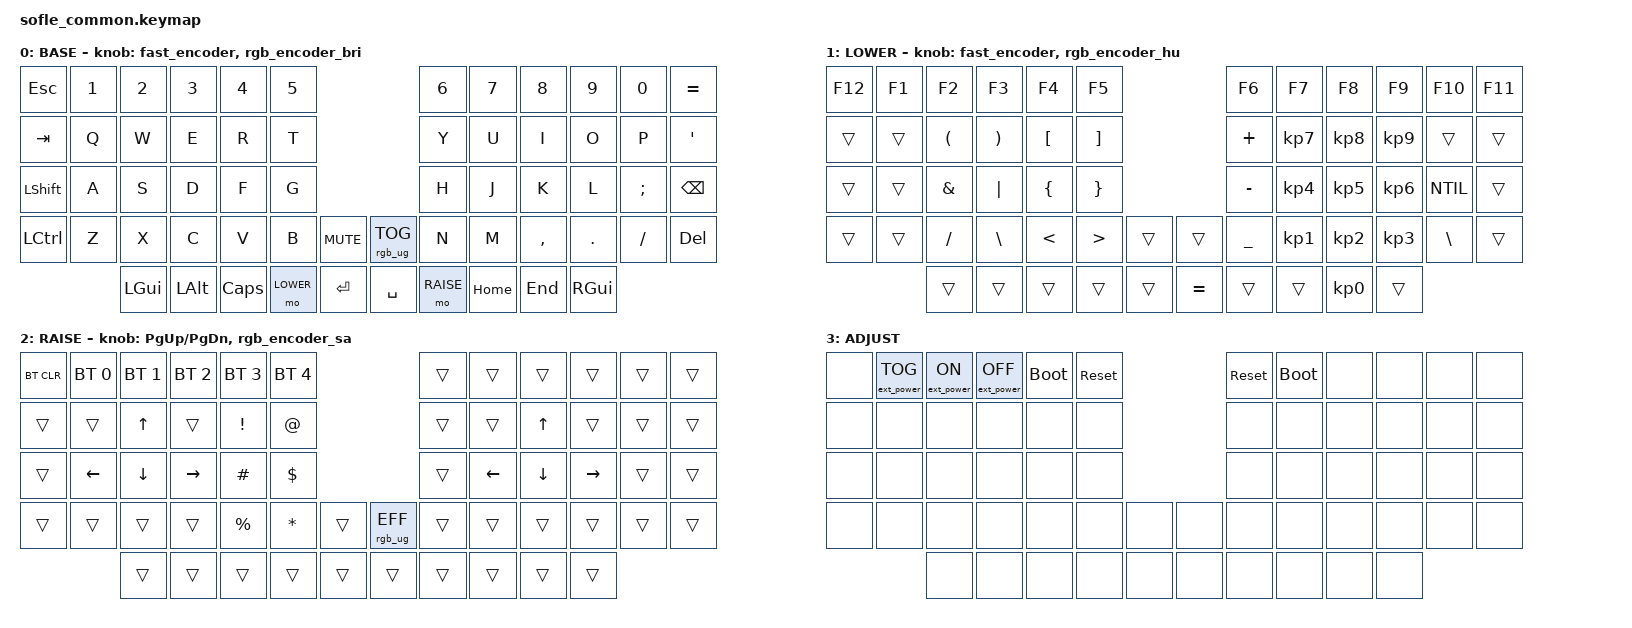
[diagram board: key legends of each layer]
#include <behaviors.dtsi>
#include <dt-bindings/zmk/keys.h>
#include <dt-bindings/zmk/bt.h>
#include <dt-bindings/zmk/rgb.h>
#include <dt-bindings/zmk/ext_power.h>

#define BASE 0
#define LOWER 1
#define RAISE 2
#define ADJUST 3

&nice_view_spi {
    cs-gpios = <&pro_micro 0 GPIO_ACTIVE_HIGH>;  // use D0 (008) for CS niceview 
};

/ {
    behaviors {
        fast_encoder: fast_encoder {
            compatible = "zmk,behavior-sensor-rotate";
            #sensor-binding-cells = <0>;
            bindings = <&macro_fast_vol_dn>, <&macro_fast_vol_up>;
        };        

        rgb_encoder_bri: rgb_encoder_bri {
            compatible = "zmk,behavior-sensor-rotate";
            #sensor-binding-cells = <0>;
            bindings = <&rgb_ug RGB_BRD>, <&rgb_ug RGB_BRI>;
        };

        rgb_encoder_hu: rgb_encoder_hu {
            compatible = "zmk,behavior-sensor-rotate";
            #sensor-binding-cells = <0>;
            bindings = <&rgb_ug RGB_HUD>, <&rgb_ug RGB_HUI>;
        };

        rgb_encoder_sa: rgb_encoder_sa {
            compatible = "zmk,behavior-sensor-rotate";
            #sensor-binding-cells = <0>;
            bindings = <&rgb_ug RGB_SAD>, <&rgb_ug RGB_SAI>;
        };
    };


    macros {      
              
            macro_fast_vol_up: macro_fast_vol_up {
                compatible = "zmk,behavior-macro";
                #binding-cells = <0>;
                wait-ms = <0>;
                tap-ms = <0>;
                bindings = <&kp C_VOL_UP &kp C_VOL_UP>;
            };

            macro_fast_vol_dn: macro_fast_vol_dn {
                compatible = "zmk,behavior-macro";
                #binding-cells = <0>;
                wait-ms = <0>;
                tap-ms = <0>;
                bindings = <&kp C_VOL_DN &kp C_VOL_DN>;
            };

            NTIL: NTIL {
                compatible = "zmk,behavior-macro";
                #binding-cells = <0>;
                bindings
                    = <&macro_press &kp LALT>
                    , <&macro_tap &kp KP_N1 &kp KP_N6 &kp KP_N4>
                    , <&macro_release &kp LALT>
                    ;
            };
    };
    


   //Activate ADJUST layer by pressing raise and lower
    conditional_layers {
        compatible = "zmk,conditional-layers";
        adjust_layer {
            if-layers = <LOWER RAISE>;
            then-layer = <ADJUST>;
        };
    };

    keymap {
        compatible = "zmk,keymap";

        default_layer {
            display-name = "BASE";
// ╭─────────────┬─────────────┬─────────────┬─────────────┬─────────────┬─────────────╮                               ╭─────────────┬─────────────┬─────────────┬─────────────┬─────────────┬─────────────╮
// |     ESC     |      1      |      2      |      3      |      4      |      5      |                               |      6      |      7      |      8      |      9      |      0      |     EQUAL   |
// ├─────────────┼─────────────┼─────────────┼─────────────┼─────────────┼─────────────┤                               ├─────────────┼─────────────┼─────────────┼─────────────┼─────────────┼─────────────┤
// |     TAB     |      Q      |      W      |      E      |      R      |      T      |                               |      Y      |      U      |      I      |      O      |      P      |      '      |
// ├─────────────┼─────────────┼─────────────┼─────────────┼─────────────┼─────────────┤                               ├─────────────┼─────────────┼─────────────┼─────────────┼─────────────┼─────────────┤
// |     SHIFT   |      A      |      S      |      D      |      F      |      G      |                               |      H      |      J      |      K      |      L      |      ;      |     BSPC    |
// ├─────────────┼─────────────┼─────────────┼─────────────┼─────────────┼─────────────┬─────────────╮    ╭────────────┼─────────────┼─────────────┼─────────────┼─────────────┼─────────────┼─────────────┤
// |     CTRL    |      Z      |      X      |      C      |      V      |      B      |     MUTE    |    |     RGB    |      N      |      M      |      ,      |      .      |      /      |     DEL     |
// ╰─────────────┴─────────────┴─────────────┼─────────────┼─────────────┼─────────────├─────────────┤    ├────────────┼─────────────┼─────────────┼─────────────┼─────────────┼─────────────┴─────────────╯
//                             |     GUI     |     ALT     |     CAPS    |     LOWER   |    ENTER    |    |   SPACE    |    RAISE    |    HOME     |     END     |     GUI     |
//                             ╰─────────────┴─────────────┴─────────────┴─────────────┴─────────────╯    ╰────────────┴─────────────┴─────────────┴─────────────┴─────────────╯
                        bindings = <
            &kp ESC   &kp N1 &kp N2   &kp N3   &kp N4    &kp N5                                  &kp N6     &kp N7    &kp N8    &kp N9   &kp N0   &kp EQUAL
            &kp TAB   &kp Q  &kp W    &kp E    &kp R     &kp T                                   &kp Y      &kp U     &kp I     &kp O    &kp P    &kp SQT
            &kp LSHFT &kp A  &kp S    &kp D    &kp F     &kp G                                   &kp H      &kp J     &kp K     &kp L    &kp SEMI &kp BSPC
            &kp LCTRL &kp Z  &kp X    &kp C    &kp V     &kp B      &kp C_MUTE &rgb_ug RGB_TOG   &kp N      &kp M     &kp COMMA &kp DOT  &kp FSLH &kp DEL
                            &kp LGUI &kp LALT &kp CAPS  &mo LOWER  &kp RET    &kp SPACE         &mo RAISE  &kp HOME  &kp END   &kp RGUI
                        >;

                        sensor-bindings = <&fast_encoder &rgb_encoder_bri>;
                    };

        lower_layer {
            display-name = "LOWER";

// ╭─────────────┬─────────────┬─────────────┬─────────────┬─────────────┬─────────────╮                               ╭─────────────┬─────────────┬─────────────┬─────────────┬─────────────┬─────────────╮
// |     F12     |      F1     |      F2     |     F3      |      F4     |      F5     |                               |      F6     |      F7     |      F8     |      F9     |      F10    |     F11     |
// ├─────────────┼─────────────┼─────────────┼─────────────┼─────────────┼─────────────┤                               ├─────────────┼─────────────┼─────────────┼─────────────┼─────────────┼─────────────┤
// |             |             |      (      |      )      |      [      |      ]      |                               |      +      |      7      |      8      |      9      |             |             |
// ├─────────────┼─────────────┼─────────────┼─────────────┼─────────────┼─────────────┤                               ├─────────────┼─────────────┼─────────────┼─────────────┼─────────────┼─────────────┤
// |             |             |      &      |      |      |      {      |      }      |                               |      -      |      4      |      5      |      6      |      ñ      |             |
// ├─────────────┼─────────────┼─────────────┼─────────────┼─────────────┼─────────────┬─────────────╮    ╭────────────┼─────────────┼─────────────┼─────────────┼─────────────┼─────────────┼─────────────┤
// |             |             |      /      |      \      |      <      |      >      |             |    |            |      _      |      1      |      2      |      3      |      \      |             |
// ╰─────────────┴─────────────┴─────────────┼─────────────┼─────────────┼─────────────├─────────────┤    ├────────────┼─────────────┼─────────────┼─────────────┼─────────────┼─────────────┴─────────────╯
//                             |             |             |             |             |             |    |     =      |             |             |      0      |             |
//                             ╰─────────────┴─────────────┴─────────────┴─────────────┴─────────────╯    ╰────────────┴─────────────┴─────────────┴─────────────┴─────────────╯
                        bindings = <
            &kp F12   &kp F1    &kp F2    &kp F3    &kp F4    &kp F5                     &kp F6    &kp F7       &kp F8       &kp F9       &kp F10    &kp F11
            &trans    &trans    &kp LPAR  &kp RPAR  &kp LBKT  &kp RBKT                   &kp PLUS  &kp KP_N7    &kp KP_N8    &kp KP_N9    &trans     &trans
            &trans    &trans    &kp AMPS  &kp PIPE  &kp LBRC  &kp RBRC                   &kp MINUS &kp KP_N4    &kp KP_N5    &kp KP_N6    &NTIL      &trans
            &trans    &trans    &kp FSLH  &kp BSLH  &kp LT    &kp GT    &trans &trans    &kp UNDER &kp KP_N1    &kp KP_N2    &kp KP_N3    &kp BSLH   &trans
                                &trans    &trans    &trans    &trans    &trans &kp EQUAL &trans    &trans    &kp KP_N0    &trans
                        >;

                        sensor-bindings = <&fast_encoder &rgb_encoder_hu>;
                    };

        raise_layer {
            display-name = "RAISE";

// ╭─────────────┬─────────────┬─────────────┬─────────────┬─────────────┬─────────────╮                               ╭─────────────┬─────────────┬─────────────┬─────────────┬─────────────┬─────────────╮
// |    BTCLR    |     BT1     |     BT2     |     BT3     |     BT4     |     BT5     |                               |             |             |             |             |             |             |
// ├─────────────┼─────────────┼─────────────┼─────────────┼─────────────┼─────────────┤                               ├─────────────┼─────────────┼─────────────┼─────────────┼─────────────┼─────────────┤
// |             |             |             |             |      !      |      @      |                               |             |             |      ^      |             |             |             |
// ├─────────────┼─────────────┼─────────────┼─────────────┼─────────────┼─────────────┤                               ├─────────────┼─────────────┼─────────────┼─────────────┼─────────────┼─────────────┤
// |             |             |             |             |      #      |      $      |                               |             |      <-     |      v      |     ->      |             |             |
// ├─────────────┼─────────────┼─────────────┼─────────────┼─────────────┼─────────────┬─────────────╮    ╭────────────┼─────────────┼─────────────┼─────────────┼─────────────┼─────────────┼─────────────┤
// |             |             |             |             |      %      |      *      |             |    |  RGB_EFF   |             |             |             |             |             |             |
// ╰─────────────┴─────────────┴─────────────┼─────────────┼─────────────┼─────────────├─────────────┤    ├────────────┼─────────────┼─────────────┼─────────────┼─────────────┼─────────────┴─────────────╯
//                             |             |             |             |             |             |    |            |             |             |             |             |
//                             ╰─────────────┴─────────────┴─────────────┴─────────────┴─────────────╯    ╰────────────┴─────────────┴─────────────┴─────────────┴─────────────╯
                        bindings = <
            &bt BT_CLR &bt BT_SEL 0 &bt BT_SEL 1 &bt BT_SEL 2 &bt BT_SEL 3 &bt BT_SEL 4                          &trans &trans   &trans   &trans    &trans  &trans
            &trans     &trans       &kp UP       &trans       &kp EXCL     &kp AT                                &trans &trans   &kp UP   &trans    &trans  &trans
            &trans     &kp LEFT     &kp DOWN     &kp RIGHT    &kp HASH     &kp DLLR                              &trans &kp LEFT &kp DOWN &kp RIGHT &trans  &trans
            &trans     &trans       &trans       &trans       &kp PRCNT    &kp ASTRK   &trans   &rgb_ug RGB_EFF  &trans &trans   &trans   &trans    &trans  &trans
                                    &trans       &trans       &trans       &trans      &trans            &trans  &trans &trans   &trans   &trans  
                        >;

                        sensor-bindings = <&inc_dec_kp PG_UP PG_DN &rgb_encoder_sa>;
                    };

        adjust_layer {
// ╭─────────────┬─────────────┬─────────────┬─────────────┬─────────────┬─────────────╮                               ╭─────────────┬─────────────┬─────────────┬─────────────┬─────────────┬─────────────╮
// |             |  EP Toggle  |    EP On    |    EP Off   |  Bootloader |    Reset    |                               |    Reset    |  Bootloader |             |             |             |             |
// ├─────────────┼─────────────┼─────────────┼─────────────┼─────────────┼─────────────┤                               ├─────────────┼─────────────┼─────────────┼─────────────┼─────────────┼─────────────┤
// |             |             |             |             |             |             |                               |             |             |             |             |             |             |
// ├─────────────┼─────────────┼─────────────┼─────────────┼─────────────┼─────────────┤                               ├─────────────┼─────────────┼─────────────┼─────────────┼─────────────┼─────────────┤
// |             |             |             |             |             |             |                               |             |             |             |             |             |             |
// ├─────────────┼─────────────┼─────────────┼─────────────┼─────────────┼─────────────┬─────────────╮    ╭────────────┼─────────────┼─────────────┼─────────────┼─────────────┼─────────────┼─────────────┤
// |             |             |             |             |             |             |             |    |            |             |             |             |             |             |             |
// ╰─────────────┴─────────────┴─────────────┼─────────────┼─────────────┼─────────────├─────────────┤    ├────────────┼─────────────┼─────────────┼─────────────┼─────────────┼─────────────┴─────────────╯
//                             |             |             |             |             |             |    |            |             |             |             |             |
//                             ╰─────────────┴─────────────┴─────────────┴─────────────┴─────────────╯    ╰────────────┴─────────────┴─────────────┴─────────────┴─────────────╯

                        display-name = "ADJUST";
                        bindings = <
            &none  &ext_power EP_TOG  &ext_power EP_ON  &ext_power EP_OFF  &bootloader  &sys_reset              &sys_reset   &bootloader   &none  &none  &none  &none  
            &none  &none  &none  &none  &none        &none                                                      &none        &none  &none  &none  &none  &none  
            &none  &none  &none  &none  &none        &none                                                      &none        &none  &none  &none  &none  &none
            &none  &none  &none  &none  &none        &none      &none                                   &none   &none        &none  &none  &none  &none  &none
                          &none  &none  &none        &none      &none                                   &none   &none        &none  &none  &none 
                        >;
        };
    };
};
